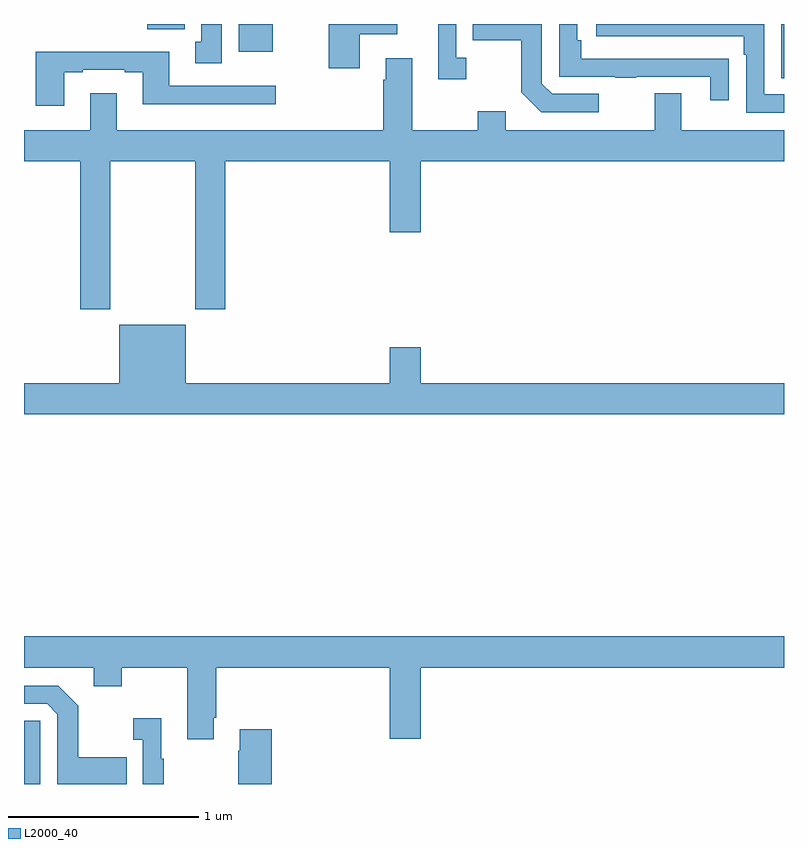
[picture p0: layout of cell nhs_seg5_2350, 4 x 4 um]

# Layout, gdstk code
import gdstk
lib = gdstk.Library(unit=1e-6, precision=1e-09)
def R(c, l, rs):  # rectangles x0, y0, x1, y1
    for r in rs: c.add(gdstk.rectangle(r[:2], r[2:], *l))
def P(c, l, *ps):  # polygons
    for p in ps: c.add(gdstk.Polygon(p, *l))
L2000_40 = (2000, 40)

nhs_seg5_2350 = lib.new_cell('nhs_seg5_2350')
R(nhs_seg5_2350, L2000_40, [(247,870.799,247.086,871.131), (250.986,874.513,251,874.799), (248.129,874.652,248.308,874.799), (247.649,874.772,247.846,874.799)])
P(nhs_seg5_2350, L2000_40, [(250.024,874.431),(249.78,874.431),(249.726,874.485),(249.726,874.799),(249.361,874.799),(249.361,874.714),(249.618,874.714),(249.618,874.441),(249.723,874.335),(250.024,874.335)],
  [(249.328,874.622),(249.276,874.622),(249.276,874.799),(249.179,874.799),(249.179,874.509),(249.328,874.509)],
  [(248.767,874.745),(248.965,874.745),(248.965,874.799),(248.605,874.799),(248.605,874.566),(248.767,874.566)],
  [(248.041,874.799),(247.934,874.799),(247.934,874.706),(247.901,874.706),(247.901,874.593),(248.041,874.593)],
  [(250.709,874.616),(250.607,874.616),(250.607,874.617),(249.932,874.617),(249.932,874.714),(249.912,874.714),(249.912,874.799),(249.816,874.799),(249.816,874.521),(250.111,874.521),(250.111,874.516),(250.223,874.516),(250.223,874.521),(250.613,874.521),(250.613,874.398),(250.709,874.398)],
  [(251,874.428),(250.896,874.428),(250.896,874.799),(250.011,874.799),(250.011,874.734),(250.787,874.734),(250.787,874.637),(250.8,874.637),(250.8,874.332),(251,874.332)],
  [(247.213,874.545),(247.309,874.545),(247.309,874.557),(247.529,874.557),(247.529,874.545),(247.625,874.545),(247.625,874.376),(248.326,874.376),(248.326,874.473),(247.765,874.473),(247.765,874.654),(247.061,874.654),(247.061,874.368),(247.213,874.368)],
  [(247.455,874.076),(247.9,874.076),(247.9,873.297),(248.06,873.297),(248.06,874.076),(248.924,874.076),(248.924,873.702),(249.088,873.702),(249.088,874.076),(251,874.076),(251,874.24),(250.459,874.24),(250.459,874.435),(250.319,874.435),(250.319,874.24),(249.535,874.24),(249.535,874.339),(249.388,874.339),(249.388,874.24),(249.043,874.24),(249.043,874.618),(248.903,874.618),(248.903,874.505),(248.891,874.505),(248.891,874.24),(247.489,874.24),(247.489,874.435),(247.349,874.435),(247.349,874.24),(247,874.24),(247,874.076),(247.295,874.076),(247.295,873.297),(247.455,873.297)],
  [(251,872.908),(249.088,872.908),(249.088,873.097),(248.924,873.097),(248.924,872.908),(247.852,872.908),(247.852,873.217),(247.502,873.217),(247.502,872.908),(247,872.908),(247,872.744),(251,872.744)],
  [(247.999,871.147),(248.012,871.147),(248.012,871.412),(248.924,871.412),(248.924,871.038),(249.088,871.038),(249.088,871.412),(251,871.412),(251,871.576),(247,871.576),(247,871.412),(247.367,871.412),(247.367,871.313),(247.515,871.313),(247.515,871.412),(247.859,871.412),(247.859,871.035),(247.999,871.035)],
  [(247.541,870.939),(247.285,870.939),(247.285,871.211),(247.179,871.317),(247,871.317),(247,871.221),(247.122,871.221),(247.176,871.167),(247.176,870.799),(247.541,870.799)],
  [(247.735,870.931),(247.723,870.931),(247.723,871.144),(247.575,871.144),(247.575,871.031),(247.626,871.031),(247.626,870.799),(247.735,870.799)],
  [(248.303,871.087),(248.135,871.087),(248.135,870.974),(248.128,870.974),(248.128,870.799),(248.303,870.799)])

lib.write_gds('nhs_seg5_2350.gds')
